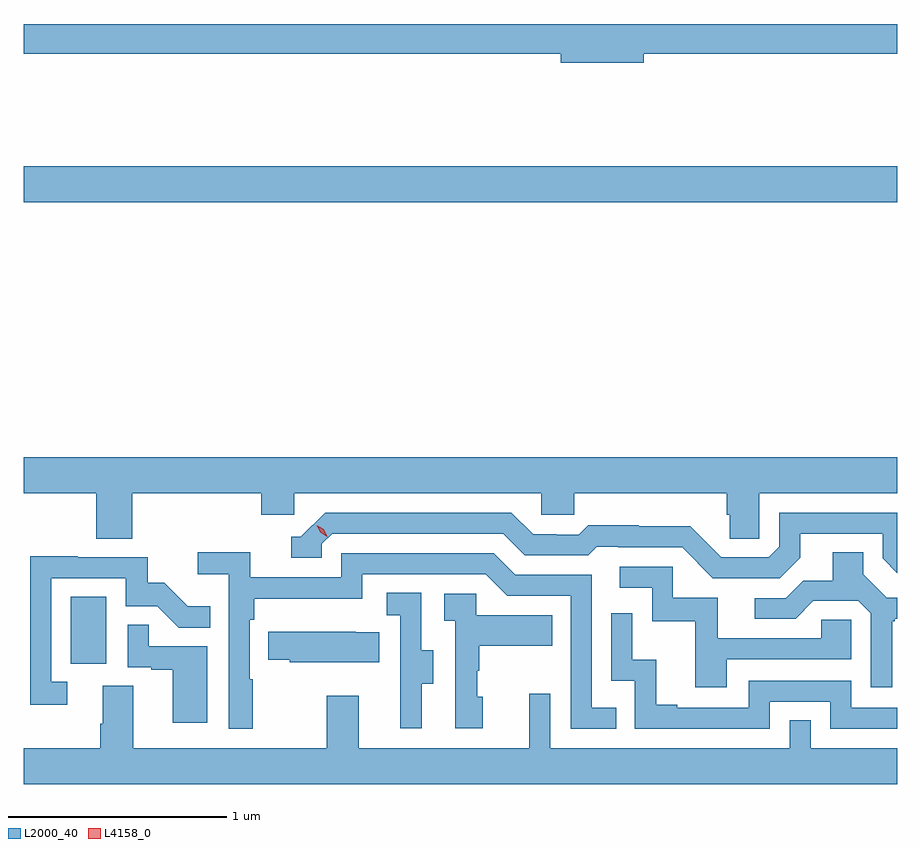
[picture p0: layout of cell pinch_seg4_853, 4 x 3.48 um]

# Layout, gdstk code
import gdstk
lib = gdstk.Library(unit=1e-6, precision=1e-09)
def R(c, l, rs):  # rectangles x0, y0, x1, y1
    for r in rs: c.add(gdstk.rectangle(r[:2], r[2:], *l))
def P(c, l, *ps):  # polygons
    for p in ps: c.add(gdstk.Polygon(p, *l))
L2000_40 = (2000, 40)
L4158_0 = (4158, 0)

pinch_seg4_853 = lib.new_cell('pinch_seg4_853')
R(pinch_seg4_853, L2000_40, [(863.066,804.03,863.23,804.337), (862.851,806.144,866.851,806.308)])
P(pinch_seg4_853, L2000_40, [(865.69,806.824),(866.851,806.824),(866.851,806.96),(862.851,806.96),(862.851,806.824),(865.31,806.824),(865.31,806.782),(865.69,806.782)],
  [(862.851,804.812),(863.183,804.812),(863.183,804.604),(863.348,804.604),(863.348,804.812),(863.939,804.812),(863.939,804.714),(864.09,804.714),(864.09,804.812),(865.221,804.812),(865.221,804.714),(865.371,804.714),(865.371,804.812),(866.069,804.812),(866.069,804.714),(866.083,804.714),(866.083,804.604),(866.22,804.604),(866.22,804.812),(866.851,804.812),(866.851,804.976),(862.851,804.976)],
  [(866.407,804.517),(866.407,804.627),(866.784,804.627),(866.784,804.513),(866.851,804.446),(866.851,804.723),(866.31,804.723),(866.31,804.567),(866.262,804.519),(866.046,804.519),(865.904,804.661),(865.668,804.661),(865.668,804.664),(865.435,804.664),(865.393,804.621),(865.29,804.621),(865.29,804.624),(865.183,804.624),(865.084,804.723),(864.231,804.723),(864.12,804.612),(864.077,804.612),(864.077,804.516),(864.216,804.516),(864.216,804.579),(864.264,804.627),(865.047,804.627),(865.146,804.528),(865.435,804.528),(865.474,804.567),(865.573,804.567),(865.573,804.564),(865.866,804.564),(866.007,804.423),(866.313,804.423)],
  [(863.899,803.96),(863.886,803.96),(863.886,804.233),(863.906,804.233),(863.906,804.329),(864.402,804.329),(864.402,804.441),(864.966,804.441),(865.065,804.342),(865.356,804.342),(865.356,803.733),(865.565,803.733),(865.565,803.829),(865.452,803.829),(865.452,804.438),(865.102,804.438),(865.003,804.537),(864.306,804.537),(864.306,804.426),(863.888,804.426),(863.888,804.542),(863.649,804.542),(863.649,804.44),(863.79,804.44),(863.79,803.733),(863.899,803.733)],
  [(866.827,804.225),(866.839,804.225),(866.839,804.236),(866.851,804.236),(866.851,804.333),(866.802,804.333),(866.695,804.44),(866.695,804.542),(866.555,804.542),(866.555,804.41),(866.42,804.41),(866.34,804.33),(866.199,804.33),(866.199,804.237),(866.386,804.237),(866.467,804.318),(866.673,804.318),(866.73,804.261),(866.73,803.922),(866.827,803.922)],
  [(863.05,803.949),(862.977,803.949),(862.977,804.423),(863.319,804.423),(863.319,804.294),(863.463,804.294),(863.561,804.196),(863.705,804.196),(863.705,804.295),(863.601,804.295),(863.494,804.402),(863.418,804.402),(863.418,804.519),(863.099,804.519),(863.099,804.524),(862.881,804.524),(862.881,803.844),(863.05,803.844)],
  [(866.071,804.051),(866.64,804.051),(866.64,804.231),(866.503,804.231),(866.503,804.147),(866.029,804.147),(866.029,804.333),(865.824,804.333),(865.824,804.474),(865.581,804.474),(865.581,804.378),(865.728,804.378),(865.728,804.225),(865.927,804.225),(865.927,803.922),(866.071,803.922)],
  [(864.673,803.938),(864.727,803.938),(864.727,804.093),(864.672,804.093),(864.672,804.356),(864.513,804.356),(864.513,804.253),(864.576,804.253),(864.576,803.949),(864.575,803.949),(864.575,803.736),(864.673,803.736)],
  [(864.952,803.88),(864.927,803.88),(864.927,803.999),(864.937,803.999),(864.937,804.113),(865.271,804.113),(865.271,804.253),(864.924,804.253),(864.924,804.351),(864.777,804.351),(864.777,804.227),(864.828,804.227),(864.828,803.736),(864.952,803.736)],
  [(866.268,803.856),(866.544,803.856),(866.544,803.733),(866.851,803.733),(866.851,803.829),(866.64,803.829),(866.64,803.952),(866.172,803.952),(866.172,803.829),(865.843,803.829),(865.843,803.842),(865.748,803.842),(865.748,804.05),(865.638,804.05),(865.638,804.262),(865.542,804.262),(865.542,803.952),(865.65,803.952),(865.65,803.733),(866.268,803.733)],
  [(863.692,804.111),(863.423,804.111),(863.423,804.209),(863.328,804.209),(863.328,804.015),(863.435,804.015),(863.435,804.003),(863.534,804.003),(863.534,803.76),(863.692,803.76)],
  [(864.479,804.175),(864.371,804.175),(864.371,804.178),(863.971,804.178),(863.971,804.049),(864.069,804.049),(864.069,804.038),(864.479,804.038)],
  [(866.851,803.644),(866.454,803.644),(866.454,803.771),(866.358,803.771),(866.358,803.644),(865.263,803.644),(865.263,803.893),(865.166,803.893),(865.166,803.644),(864.385,803.644),(864.385,803.884),(864.238,803.884),(864.238,803.644),(863.353,803.644),(863.353,803.93),(863.213,803.93),(863.213,803.756),(863.201,803.756),(863.201,803.644),(862.851,803.644),(862.851,803.48),(866.851,803.48)])
P(pinch_seg4_853, L4158_0, [(864.24,804.613),(864.209,804.632),(864.192,804.664),(864.192,804.665),(864.193,804.665),(864.224,804.646),(864.24,804.614),(864.24,804.613)])

lib.write_gds('pinch_seg4_853.gds')
